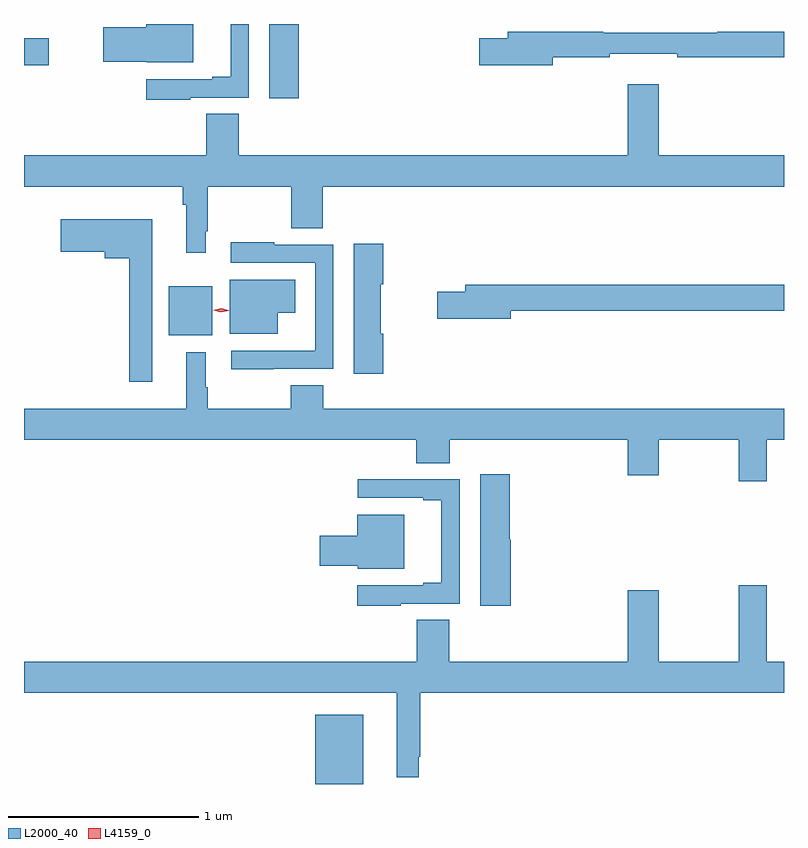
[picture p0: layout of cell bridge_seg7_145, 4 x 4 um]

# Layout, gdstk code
import gdstk
lib = gdstk.Library(unit=1e-6, precision=1e-09)
def R(c, l, rs):  # rectangles x0, y0, x1, y1
    for r in rs: c.add(gdstk.rectangle(r[:2], r[2:], *l))
def P(c, l, *ps):  # polygons
    for p in ps: c.add(gdstk.Polygon(p, *l))
L2000_40 = (2000, 40)
L4159_0 = (4159, 0)

bridge_seg7_145 = lib.new_cell('bridge_seg7_145')
R(bridge_seg7_145, L2000_40, [(618.908,1033.436,619.159,1033.801), (618.137,1035.797,618.364,1036.057), (618.665,1037.046,618.821,1037.436), (617.374,1037.218,617.503,1037.36)])
P(bridge_seg7_145, L2000_40, [(618.248,1037.049),(618.558,1037.049),(618.558,1037.436),(618.461,1037.436),(618.461,1037.158),(618.365,1037.158),(618.365,1037.145),(618.018,1037.145),(618.018,1037.037),(618.248,1037.037)],
  [(618.265,1037.436),(618.017,1037.436),(618.017,1037.42),(617.79,1037.42),(617.79,1037.237),(618.021,1037.237),(618.021,1037.234),(618.265,1037.234)],
  [(620.158,1037.26),(620.456,1037.26),(620.456,1037.279),(620.812,1037.279),(620.812,1037.26),(621.374,1037.26),(621.374,1037.396),(621.023,1037.396),(621.023,1037.389),(620.423,1037.389),(620.423,1037.396),(619.919,1037.396),(619.919,1037.36),(619.77,1037.36),(619.77,1037.218),(620.158,1037.218)],
  [(618.331,1036.345),(618.341,1036.345),(618.341,1036.58),(618.781,1036.58),(618.781,1036.36),(618.947,1036.36),(618.947,1036.58),(621.374,1036.58),(621.374,1036.744),(620.716,1036.744),(620.716,1037.119),(620.552,1037.119),(620.552,1036.744),(618.503,1036.744),(618.503,1036.964),(618.332,1036.964),(618.332,1036.744),(617.374,1036.744),(617.374,1036.58),(618.21,1036.58),(618.21,1036.484),(618.227,1036.484),(618.227,1036.233),(618.331,1036.233)],
  [(618.049,1036.408),(617.568,1036.408),(617.568,1036.238),(617.798,1036.238),(617.798,1036.202),(617.928,1036.202),(617.928,1035.552),(618.049,1035.552)],
  [(618.689,1035.621),(619.002,1035.621),(619.002,1036.275),(618.692,1036.275),(618.692,1036.288),(618.462,1036.288),(618.462,1036.179),(618.906,1036.179),(618.906,1035.719),(618.905,1035.719),(618.905,1035.717),(618.465,1035.717),(618.465,1035.62),(618.689,1035.62)],
  [(619.265,1035.806),(619.252,1035.806),(619.252,1036.066),(619.265,1036.066),(619.265,1036.279),(619.109,1036.279),(619.109,1035.594),(619.265,1035.594)],
  [(618.709,1035.917),(618.802,1035.917),(618.802,1036.09),(618.458,1036.09),(618.458,1035.806),(618.709,1035.806)],
  [(619.936,1035.928),(621.374,1035.928),(621.374,1036.064),(619.697,1036.064),(619.697,1036.028),(619.548,1036.028),(619.548,1035.886),(619.936,1035.886)],
  [(621.283,1035.248),(621.374,1035.248),(621.374,1035.412),(618.95,1035.412),(618.95,1035.536),(618.778,1035.536),(618.778,1035.412),(618.341,1035.412),(618.341,1035.524),(618.331,1035.524),(618.331,1035.709),(618.227,1035.709),(618.227,1035.412),(617.374,1035.412),(617.374,1035.248),(619.439,1035.248),(619.439,1035.124),(619.616,1035.124),(619.616,1035.248),(620.552,1035.248),(620.552,1035.06),(620.716,1035.06),(620.716,1035.248),(621.136,1035.248),(621.136,1035.03),(621.283,1035.03)],
  [(619.936,1034.721),(619.931,1034.721),(619.931,1035.067),(619.775,1035.067),(619.775,1034.373),(619.936,1034.373)],
  [(619.358,1034.385),(619.668,1034.385),(619.668,1035.039),(619.355,1035.039),(619.355,1035.041),(619.131,1035.041),(619.131,1034.943),(619.475,1034.943),(619.475,1034.93),(619.571,1034.93),(619.571,1034.494),(619.475,1034.494),(619.475,1034.481),(619.128,1034.481),(619.128,1034.373),(619.358,1034.373)],
  [(619.375,1034.854),(619.127,1034.854),(619.127,1034.743),(618.93,1034.743),(618.93,1034.585),(619.131,1034.585),(619.131,1034.57),(619.375,1034.57)],
  [(619.452,1033.579),(619.459,1033.579),(619.459,1033.916),(621.374,1033.916),(621.374,1034.08),(621.283,1034.08),(621.283,1034.482),(621.136,1034.482),(621.136,1034.08),(620.716,1034.08),(620.716,1034.455),(620.552,1034.455),(620.552,1034.08),(619.613,1034.08),(619.613,1034.3),(619.442,1034.3),(619.442,1034.08),(617.374,1034.08),(617.374,1033.916),(619.337,1033.916),(619.337,1033.472),(619.452,1033.472)])
P(bridge_seg7_145, L4159_0, [(618.41,1035.919),(618.37,1035.929),(618.37,1035.93),(618.37,1035.93),(618.411,1035.939),(618.451,1035.929),(618.452,1035.929),(618.451,1035.928)])

lib.write_gds('bridge_seg7_145.gds')
